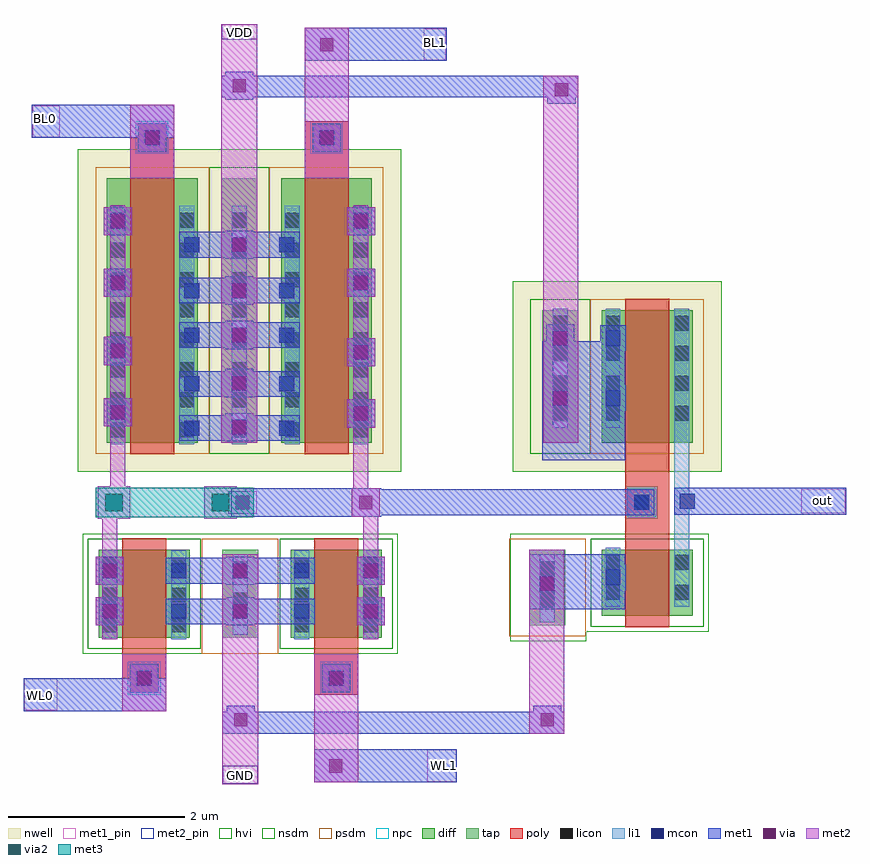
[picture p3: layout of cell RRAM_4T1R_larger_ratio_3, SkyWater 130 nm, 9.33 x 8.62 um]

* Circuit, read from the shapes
.subckt RRAM_4T1R_larger_ratio_3 BL0 BL1 GND VDD WL0 WL1 out
XM1 GND WL0 rram2_0_4/BE GND sky130_fd_pr__nfet_g5v0d10v5 w=1 l=0.5
XM2 rram2_0_4/BE WL1 GND GND sky130_fd_pr__nfet_g5v0d10v5 w=1 l=0.5
XM3 out rram2_0_4/BE GND GND sky130_fd_pr__nfet_g5v0d10v5 w=0.75 l=0.5
XM4 VDD BL0 rram2_0_4/BE VDD sky130_fd_pr__pfet_g5v0d10v5 w=3 l=0.5
XM5 rram2_0_4/BE BL1 VDD VDD sky130_fd_pr__pfet_g5v0d10v5 w=3 l=0.5
XM6 out rram2_0_4/BE VDD VDD sky130_fd_pr__pfet_g5v0d10v5 w=1.5 l=0.5
.ends

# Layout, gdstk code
from math import pi, radians
import gdstk
lib = gdstk.Library(unit=1e-6, precision=1e-09)
def R(c, l, rs):  # rectangles x0, y0, x1, y1
    for r in rs: c.add(gdstk.rectangle(r[:2], r[2:], *l))
def A(c, l, x, y, w, h, nx, ny, dx, dy):  # array of equal rectangles
    R(c, l, [(x+i*dx, y+j*dy, x+i*dx+w, y+j*dy+h) for i in range(nx) for j in range(ny)])
nwell = (64, 20)
diff = (65, 20)
tap = (65, 44)
poly = (66, 20)
licon = (66, 44)
li1 = (67, 20)
mcon = (67, 44)
met1_pin = (68, 16)
met1 = (68, 20)
via = (68, 44)
met2_pin = (69, 16)
met2 = (69, 20)
via2 = (69, 44)
met3 = (70, 20)
hvi = (75, 20)
nsdm = (93, 44)
psdm = (94, 20)
npc = (95, 20)

dfl1sd_cdns_630369580171 = lib.new_cell('DFL1sd_CDNS_6303695801715')
R(dfl1sd_cdns_630369580171, nwell, [(-0.18,-0.18,0.445,3.18)])
R(dfl1sd_cdns_630369580171, diff, [(0,0,0.265,3)])
A(dfl1sd_cdns_630369580171, licon, 0.055, 0.06, 0.17, 0.17, 1, 8, 0, 0.34)
R(dfl1sd_cdns_630369580171, li1, [(0.055,-0.02,0.225,2.69)])
R(dfl1sd_cdns_630369580171, psdm, [(-0.125,-0.125,0.39,3.125)])

pfet_symbolic_cdns_63036 = lib.new_cell('pfet_symbolic_CDNS_6303695801714')
R(pfet_symbolic_cdns_63036, nwell, [(-0.445,-0.18,0.945,3.18)])
R(pfet_symbolic_cdns_63036, diff, [(-0.25,0,0,3), (0,0,0.5,3), (0.5,0,0.75,3)])
R(pfet_symbolic_cdns_63036, poly, [(0,-0.13,0.5,0), (0,-0.13,0.5,3.13), (0,3,0.5,3.13)])
R(pfet_symbolic_cdns_63036, li1, [(-0.225,-0.02,-0.055,2.69), (0.555,-0.02,0.725,2.69)])
R(pfet_symbolic_cdns_63036, psdm, [(-0.25,-0.125,0.75,3.125)])
pfet_symbolic_cdns_63036.add(gdstk.Reference(dfl1sd_cdns_630369580171, (0,0), rotation=pi, x_reflection=True))
pfet_symbolic_cdns_63036.add(gdstk.Reference(dfl1sd_cdns_630369580171, (0.5,0)))
pfet_symbolic_cdns_63036.add(gdstk.Label('S', (-0.14,1.335), layer=83, texttype=44))
pfet_symbolic_cdns_63036.add(gdstk.Label('D', (0.64,1.335), layer=83, texttype=44))

pfet_cdns_6303695801713 = lib.new_cell('pfet_CDNS_6303695801713')
R(pfet_cdns_6303695801713, nwell, [(-1.275,-0.33,-0.445,3.33), (-0.595,-0.33,1.095,3.33)])
R(pfet_cdns_6303695801713, tap, [(-0.945,0,-0.535,3)])
A(pfet_cdns_6303695801713, licon, -0.825, 0.06, 0.17, 0.17, 1, 8, 0, 0.34)
R(pfet_cdns_6303695801713, li1, [(-0.825,-0.02,-0.655,2.69)])
R(pfet_cdns_6303695801713, hvi, [(-1.275,-0.33,-0.445,3.33), (-0.595,-0.33,1.095,3.33)])
R(pfet_cdns_6303695801713, nsdm, [(-1.08,-0.125,-0.4,3.125)])
R(pfet_cdns_6303695801713, psdm, [(-0.4,-0.125,-0.39,3.125)])
pfet_cdns_6303695801713.add(gdstk.Reference(pfet_symbolic_cdns_63036, (0,0)))

c_dfl1sd_cdns_630369580171 = lib.new_cell('DFL1sd_CDNS_6303695801718')
R(c_dfl1sd_cdns_630369580171, diff, [(0,0,0.265,1)])
A(c_dfl1sd_cdns_630369580171, licon, 0.055, 0.06, 0.17, 0.17, 1, 3, 0, 0.34)
R(c_dfl1sd_cdns_630369580171, li1, [(0.055,-0.02,0.225,0.99)])
R(c_dfl1sd_cdns_630369580171, nsdm, [(-0.125,-0.125,0.39,1.125)])

nfet_symbolic_cdns_63036 = lib.new_cell('nfet_symbolic_CDNS_6303695801717')
R(nfet_symbolic_cdns_63036, diff, [(-0.25,0,0,1), (0,0,0.5,1), (0.5,0,0.75,1)])
R(nfet_symbolic_cdns_63036, poly, [(0,-0.13,0.5,0), (0,-0.13,0.5,1.13), (0,1,0.5,1.13)])
R(nfet_symbolic_cdns_63036, li1, [(-0.225,-0.02,-0.055,0.99), (0.555,-0.02,0.725,0.99)])
R(nfet_symbolic_cdns_63036, nsdm, [(-0.25,-0.125,0.75,1.125)])
nfet_symbolic_cdns_63036.add(gdstk.Reference(c_dfl1sd_cdns_630369580171, (0,0), rotation=pi, x_reflection=True))
nfet_symbolic_cdns_63036.add(gdstk.Reference(c_dfl1sd_cdns_630369580171, (0.5,0)))
nfet_symbolic_cdns_63036.add(gdstk.Label('S', (-0.14,0.485), layer=83, texttype=44))
nfet_symbolic_cdns_63036.add(gdstk.Label('D', (0.64,0.485), layer=83, texttype=44))

nfet_cdns_6303695801716 = lib.new_cell('nfet_CDNS_6303695801716')
R(nfet_cdns_6303695801716, hvi, [(-0.445,-0.18,0.945,1.18)])
nfet_cdns_6303695801716.add(gdstk.Reference(nfet_symbolic_cdns_63036, (0,0)))

rram2_0 = lib.new_cell('rram2_0')
R(rram2_0, met1_pin, [(-0.16,-0.13,0.16,0.13)])
R(rram2_0, met1, [(-0.16,-0.13,0.16,0.13)])
R(rram2_0, via, [(-0.075,-0.075,0.075,0.075)])
R(rram2_0, met2_pin, [(-0.13,-0.16,0.13,0.16)])
R(rram2_0, met2, [(-0.13,-0.16,0.13,0.16)])
rram2_0.add(gdstk.Label('TE', (0,0), layer=69, texttype=5))
rram2_0.add(gdstk.Label('BE', (0,0), layer=68, texttype=5))

dfl1sd_cdns_630369580176 = lib.new_cell('DFL1sd_CDNS_630369580176')
R(dfl1sd_cdns_630369580176, diff, [(0,0,0.265,0.75)])
R(dfl1sd_cdns_630369580176, licon, [(0.055,0.06,0.225,0.23), (0.055,0.4,0.225,0.57)])
R(dfl1sd_cdns_630369580176, li1, [(0.055,-0.02,0.225,0.65)])
R(dfl1sd_cdns_630369580176, nsdm, [(-0.125,-0.125,0.39,0.875)])

c_nfet_symbolic_cdns_63036 = lib.new_cell('nfet_symbolic_CDNS_630369580175')
R(c_nfet_symbolic_cdns_63036, diff, [(-0.25,0,0,0.75), (0,0,0.5,0.75), (0.5,0,0.75,0.75)])
R(c_nfet_symbolic_cdns_63036, poly, [(0,-0.13,0.5,0), (0,-0.13,0.5,0.88), (0,0.75,0.5,0.88)])
R(c_nfet_symbolic_cdns_63036, li1, [(-0.225,-0.02,-0.055,0.65), (0.555,-0.02,0.725,0.65)])
R(c_nfet_symbolic_cdns_63036, nsdm, [(-0.25,-0.125,0.75,0.875)])
c_nfet_symbolic_cdns_63036.add(gdstk.Reference(dfl1sd_cdns_630369580176, (0,0), rotation=pi, x_reflection=True))
c_nfet_symbolic_cdns_63036.add(gdstk.Reference(dfl1sd_cdns_630369580176, (0.5,0)))
c_nfet_symbolic_cdns_63036.add(gdstk.Label('S', (-0.14,0.315), layer=83, texttype=44))
c_nfet_symbolic_cdns_63036.add(gdstk.Label('D', (0.64,0.315), layer=83, texttype=44))

nfet_cdns_630369580174 = lib.new_cell('nfet_CDNS_630369580174')
R(nfet_cdns_630369580174, hvi, [(-0.445,-0.18,0.945,0.93)])
nfet_cdns_630369580174.add(gdstk.Reference(c_nfet_symbolic_cdns_63036, (0,0)))

c_dfl1sd_cdns_630369580171_ = lib.new_cell('DFL1sd_CDNS_6303695801712')
R(c_dfl1sd_cdns_630369580171_, nwell, [(-0.18,-0.18,0.445,1.68)])
R(c_dfl1sd_cdns_630369580171_, diff, [(0,0,0.265,1.5)])
A(c_dfl1sd_cdns_630369580171_, licon, 0.055, 0.06, 0.17, 0.17, 1, 4, 0, 0.34)
R(c_dfl1sd_cdns_630369580171_, li1, [(0.055,-0.02,0.225,1.33)])
R(c_dfl1sd_cdns_630369580171_, psdm, [(-0.125,-0.125,0.39,1.625)])

c_pfet_symbolic_cdns_63036 = lib.new_cell('pfet_symbolic_CDNS_6303695801711')
R(c_pfet_symbolic_cdns_63036, nwell, [(-0.445,-0.18,0.945,1.68)])
R(c_pfet_symbolic_cdns_63036, diff, [(-0.25,0,0,1.5), (0,0,0.5,1.5), (0.5,0,0.75,1.5)])
R(c_pfet_symbolic_cdns_63036, poly, [(0,-0.13,0.5,0), (0,-0.13,0.5,1.63), (0,1.5,0.5,1.63)])
R(c_pfet_symbolic_cdns_63036, li1, [(-0.225,-0.02,-0.055,1.33), (0.555,-0.02,0.725,1.33)])
R(c_pfet_symbolic_cdns_63036, psdm, [(-0.25,-0.125,0.75,1.625)])
c_pfet_symbolic_cdns_63036.add(gdstk.Reference(c_dfl1sd_cdns_630369580171_, (0,0), rotation=pi, x_reflection=True))
c_pfet_symbolic_cdns_63036.add(gdstk.Reference(c_dfl1sd_cdns_630369580171_, (0.5,0)))
c_pfet_symbolic_cdns_63036.add(gdstk.Label('S', (-0.14,0.655), layer=83, texttype=44))
c_pfet_symbolic_cdns_63036.add(gdstk.Label('D', (0.64,0.655), layer=83, texttype=44))

pfet_cdns_6303695801710 = lib.new_cell('pfet_CDNS_6303695801710')
R(pfet_cdns_6303695801710, nwell, [(-1.275,-0.33,-0.445,1.83), (-0.595,-0.33,1.095,1.83)])
R(pfet_cdns_6303695801710, tap, [(-0.945,0,-0.535,1.5)])
A(pfet_cdns_6303695801710, licon, -0.825, 0.06, 0.17, 0.17, 1, 4, 0, 0.34)
R(pfet_cdns_6303695801710, li1, [(-0.825,-0.02,-0.655,1.33)])
R(pfet_cdns_6303695801710, hvi, [(-1.275,-0.33,-0.445,1.83), (-0.595,-0.33,1.095,1.83)])
R(pfet_cdns_6303695801710, nsdm, [(-1.08,-0.125,-0.4,1.625)])
R(pfet_cdns_6303695801710, psdm, [(-0.4,-0.125,-0.39,1.625)])
pfet_cdns_6303695801710.add(gdstk.Reference(c_pfet_symbolic_cdns_63036, (0,0)))

l1m1_c_cdns_630369580172 = lib.new_cell('L1M1_C_CDNS_6303695801729')
R(l1m1_c_cdns_630369580172, li1, [(-0.085,-0.085,0.085,0.085)])
R(l1m1_c_cdns_630369580172, mcon, [(-0.085,-0.085,0.085,0.085)])
R(l1m1_c_cdns_630369580172, met1, [(-0.16,-0.16,0.16,0.16)])

m1m2_c_cdns_630369580172 = lib.new_cell('M1M2_C_CDNS_6303695801725')
R(m1m2_c_cdns_630369580172, met1, [(-0.16,-0.16,0.16,0.16)])
R(m1m2_c_cdns_630369580172, via, [(-0.075,-0.075,0.075,0.075)])
R(m1m2_c_cdns_630369580172, met2, [(-0.16,-0.16,0.16,0.16)])

pyl1_c_cdns_630369580173 = lib.new_cell('PYL1_C_CDNS_6303695801737')
R(pyl1_c_cdns_630369580173, poly, [(-0.165,-0.165,0.165,0.165)])
R(pyl1_c_cdns_630369580173, licon, [(-0.085,-0.085,0.085,0.085)])
R(pyl1_c_cdns_630369580173, li1, [(-0.165,-0.165,0.165,0.165)])
R(pyl1_c_cdns_630369580173, npc, [(-0.185,-0.185,0.185,0.185)])

l1m1_c_cdns_630369580173 = lib.new_cell('L1M1_C_CDNS_6303695801734')
R(l1m1_c_cdns_630369580173, li1, [(-0.085,-0.085,0.085,0.085)])
R(l1m1_c_cdns_630369580173, mcon, [(-0.085,-0.085,0.085,0.085)])
R(l1m1_c_cdns_630369580173, met1, [(-0.145,-0.145,0.145,0.145)])

m2m3_c_cdns_630369580173 = lib.new_cell('M2M3_C_CDNS_6303695801738')
R(m2m3_c_cdns_630369580173, met2, [(-0.185,-0.185,0.185,0.185)])
R(m2m3_c_cdns_630369580173, via2, [(-0.1,-0.1,0.1,0.1)])
R(m2m3_c_cdns_630369580173, met3, [(-0.165,-0.165,0.165,0.165)])

rram_4t1r_larger_ratio_3 = lib.new_cell('RRAM_4T1R_larger_ratio_3')
R(rram_4t1r_larger_ratio_3, tap, [(2.485,-2.795,2.895,-1.795), (5.97,-2.655,6.38,-1.795)])
R(rram_4t1r_larger_ratio_3, poly, [(3.53,-3.44,4.03,-2.925), (1.35,-3.255,1.85,-2.925), (7.06,-1.665,7.56,-0.71), (1.44,2.55,1.94,2.88), (3.42,2.55,3.92,3.065)])
R(rram_4t1r_larger_ratio_3, licon, [(2.605,-2.455,2.775,-2.285), (6.09,-2.45,6.26,-2.28), (2.605,-2.1,2.775,-1.93), (6.09,-2.095,6.26,-1.925)])
R(rram_4t1r_larger_ratio_3, li1, [(2.605,-2.76,2.775,-1.845), (6.09,-2.62,6.26,-1.845), (7.615,-1.795,7.785,-0.41)])
R(rram_4t1r_larger_ratio_3, met1_pin, [(4.81,-4.43,5.14,-4.065), (0.24,-3.62,0.615,-3.26), (9.055,-1.385,9.555,-1.11), (0.335,2.885,0.64,3.245), (4.775,3.76,5.02,4.115)])
R(rram_4t1r_larger_ratio_3, met1, [(3.53,-4.435,5.145,-4.06), (2.485,-3.885,6.365,-3.635), (0.235,-3.63,1.85,-3.255), (1.905,-2.64,3.475,-2.35), (5.97,-2.47,7.06,-1.85), (1.905,-2.18,3.475,-1.89), (2.75,-1.42,4.29,-1.1), (4.29,-1.405,7.38,-1.11), (7.615,-1.4,9.565,-1.095), (6.115,-0.78,7.06,0.57), (1.995,-0.56,3.365,-0.27), (1.995,-0.06,3.365,0.23), (1.995,0.495,3.365,0.785), (1.995,1,3.365,1.29), (1.995,1.52,3.365,1.81), (0.325,2.88,1.94,3.255), (2.475,3.34,6.525,3.585), (3.42,3.755,5.035,4.13)])
R(rram_4t1r_larger_ratio_3, met2_pin, [(2.49,-4.45,2.89,-4.25), (2.48,3.995,2.88,4.165)])
R(rram_4t1r_larger_ratio_3, met2, [(2.485,-4.455,2.895,-1.85), (3.53,-4.435,4.03,-2.975), (5.97,-3.885,6.365,-1.795), (1.35,-3.63,1.85,-2.975), (1.125,-2.815,1.295,-1.095), (4.085,-2.815,4.255,-1.1), (1.215,-1.42,1.385,2.115), (3.975,-1.42,4.145,2.115), (2.475,-0.58,2.885,4.17), (6.13,-0.58,6.525,3.585), (1.44,2.42,1.94,3.255), (3.42,2.42,3.92,4.13)])
R(rram_4t1r_larger_ratio_3, met3, [(1.05,-1.425,2.845,-1.095)])
R(rram_4t1r_larger_ratio_3, hvi, [(2.25,-2.975,3.11,-1.615), (5.755,-2.835,6.615,-1.615)])
R(rram_4t1r_larger_ratio_3, psdm, [(2.255,-2.975,3.12,-1.67), (5.745,-2.78,6.61,-1.67)])
rram_4t1r_larger_ratio_3.add(gdstk.Reference(pfet_cdns_6303695801713, (1.94,-0.58), rotation=pi, x_reflection=True))
rram_4t1r_larger_ratio_3.add(gdstk.Reference(pfet_cdns_6303695801713, (3.42,-0.58)))
rram_4t1r_larger_ratio_3.add(gdstk.Reference(nfet_cdns_6303695801716, (3.53,-2.795)))
rram_4t1r_larger_ratio_3.add(gdstk.Reference(nfet_cdns_6303695801716, (1.85,-2.795), rotation=pi, x_reflection=True))
rram_4t1r_larger_ratio_3.add(gdstk.Reference(rram2_0, (2.715,-1.26)))
rram_4t1r_larger_ratio_3.add(gdstk.Reference(nfet_cdns_630369580174, (7.06,-1.795), x_reflection=True))
rram_4t1r_larger_ratio_3.add(gdstk.Reference(pfet_cdns_6303695801710, (7.06,0.92), x_reflection=True))
rram_4t1r_larger_ratio_3.add(gdstk.Reference(l1m1_c_cdns_630369580172, (1.21,-2.495)))
rram_4t1r_larger_ratio_3.add(gdstk.Reference(l1m1_c_cdns_630369580172, (3.78,-3.255)))
rram_4t1r_larger_ratio_3.add(gdstk.Reference(l1m1_c_cdns_630369580172, (2.69,-2.495)))
rram_4t1r_larger_ratio_3.add(gdstk.Reference(l1m1_c_cdns_630369580172, (2.69,-2.035)))
rram_4t1r_larger_ratio_3.add(gdstk.Reference(l1m1_c_cdns_630369580172, (1.6,-3.255)))
rram_4t1r_larger_ratio_3.add(gdstk.Reference(l1m1_c_cdns_630369580172, (4.17,-2.035)))
rram_4t1r_larger_ratio_3.add(gdstk.Reference(l1m1_c_cdns_630369580172, (4.17,-2.495)))
rram_4t1r_larger_ratio_3.add(gdstk.Reference(l1m1_c_cdns_630369580172, (1.21,-2.035)))
rram_4t1r_larger_ratio_3.add(gdstk.Reference(l1m1_c_cdns_630369580172, (1.3,1.235)))
rram_4t1r_larger_ratio_3.add(gdstk.Reference(l1m1_c_cdns_630369580172, (1.3,-0.235)))
rram_4t1r_larger_ratio_3.add(gdstk.Reference(l1m1_c_cdns_630369580172, (1.3,0.46)))
rram_4t1r_larger_ratio_3.add(gdstk.Reference(l1m1_c_cdns_630369580172, (1.3,1.93)))
rram_4t1r_larger_ratio_3.add(gdstk.Reference(l1m1_c_cdns_630369580172, (1.69,2.88)))
rram_4t1r_larger_ratio_3.add(gdstk.Reference(l1m1_c_cdns_630369580172, (2.68,-0.405)))
rram_4t1r_larger_ratio_3.add(gdstk.Reference(l1m1_c_cdns_630369580172, (2.68,1.145)))
rram_4t1r_larger_ratio_3.add(gdstk.Reference(l1m1_c_cdns_630369580172, (2.68,0.64)))
rram_4t1r_larger_ratio_3.add(gdstk.Reference(l1m1_c_cdns_630369580172, (2.68,0.095)))
rram_4t1r_larger_ratio_3.add(gdstk.Reference(l1m1_c_cdns_630369580172, (2.68,1.665)))
rram_4t1r_larger_ratio_3.add(gdstk.Reference(l1m1_c_cdns_630369580172, (3.67,2.88)))
rram_4t1r_larger_ratio_3.add(gdstk.Reference(l1m1_c_cdns_630369580172, (4.06,-0.25)))
rram_4t1r_larger_ratio_3.add(gdstk.Reference(l1m1_c_cdns_630369580172, (4.06,0.445)))
rram_4t1r_larger_ratio_3.add(gdstk.Reference(l1m1_c_cdns_630369580172, (4.06,1.93)))
rram_4t1r_larger_ratio_3.add(gdstk.Reference(l1m1_c_cdns_630369580172, (4.06,1.235)))
rram_4t1r_larger_ratio_3.add(gdstk.Reference(l1m1_c_cdns_630369580172, (6.175,-2.185)))
rram_4t1r_larger_ratio_3.add(gdstk.Reference(l1m1_c_cdns_630369580172, (6.32,0.605)))
rram_4t1r_larger_ratio_3.add(gdstk.Reference(l1m1_c_cdns_630369580172, (6.32,-0.075)))
rram_4t1r_larger_ratio_3.add(gdstk.Reference(m1m2_c_cdns_630369580172, (1.21,-2.495)))
rram_4t1r_larger_ratio_3.add(gdstk.Reference(m1m2_c_cdns_630369580172, (3.78,-3.255)))
rram_4t1r_larger_ratio_3.add(gdstk.Reference(m1m2_c_cdns_630369580172, (2.69,-2.495)))
rram_4t1r_larger_ratio_3.add(gdstk.Reference(m1m2_c_cdns_630369580172, (2.69,-2.035)))
rram_4t1r_larger_ratio_3.add(gdstk.Reference(m1m2_c_cdns_630369580172, (1.6,-3.255)))
rram_4t1r_larger_ratio_3.add(gdstk.Reference(m1m2_c_cdns_630369580172, (4.17,-2.035)))
rram_4t1r_larger_ratio_3.add(gdstk.Reference(m1m2_c_cdns_630369580172, (4.17,-2.495)))
rram_4t1r_larger_ratio_3.add(gdstk.Reference(m1m2_c_cdns_630369580172, (1.21,-2.035)))
rram_4t1r_larger_ratio_3.add(gdstk.Reference(m1m2_c_cdns_630369580172, (1.3,1.235)))
rram_4t1r_larger_ratio_3.add(gdstk.Reference(m1m2_c_cdns_630369580172, (1.3,-0.235)))
rram_4t1r_larger_ratio_3.add(gdstk.Reference(m1m2_c_cdns_630369580172, (1.3,0.46)))
rram_4t1r_larger_ratio_3.add(gdstk.Reference(m1m2_c_cdns_630369580172, (1.3,1.93)))
rram_4t1r_larger_ratio_3.add(gdstk.Reference(m1m2_c_cdns_630369580172, (1.69,2.88)))
rram_4t1r_larger_ratio_3.add(gdstk.Reference(m1m2_c_cdns_630369580172, (2.68,-0.405)))
rram_4t1r_larger_ratio_3.add(gdstk.Reference(m1m2_c_cdns_630369580172, (2.68,1.145)))
rram_4t1r_larger_ratio_3.add(gdstk.Reference(m1m2_c_cdns_630369580172, (2.68,0.64)))
rram_4t1r_larger_ratio_3.add(gdstk.Reference(m1m2_c_cdns_630369580172, (2.68,0.095)))
rram_4t1r_larger_ratio_3.add(gdstk.Reference(m1m2_c_cdns_630369580172, (2.68,1.665)))
rram_4t1r_larger_ratio_3.add(gdstk.Reference(m1m2_c_cdns_630369580172, (3.67,2.88)))
rram_4t1r_larger_ratio_3.add(gdstk.Reference(m1m2_c_cdns_630369580172, (4.06,-0.25)))
rram_4t1r_larger_ratio_3.add(gdstk.Reference(m1m2_c_cdns_630369580172, (4.06,0.445)))
rram_4t1r_larger_ratio_3.add(gdstk.Reference(m1m2_c_cdns_630369580172, (4.06,1.93)))
rram_4t1r_larger_ratio_3.add(gdstk.Reference(m1m2_c_cdns_630369580172, (4.06,1.235)))
rram_4t1r_larger_ratio_3.add(gdstk.Reference(m1m2_c_cdns_630369580172, (4.115,-1.26)))
rram_4t1r_larger_ratio_3.add(gdstk.Reference(m1m2_c_cdns_630369580172, (6.175,-2.185)))
rram_4t1r_larger_ratio_3.add(gdstk.Reference(m1m2_c_cdns_630369580172, (6.32,0.605)))
rram_4t1r_larger_ratio_3.add(gdstk.Reference(m1m2_c_cdns_630369580172, (6.335,3.425)))
rram_4t1r_larger_ratio_3.add(gdstk.Reference(m1m2_c_cdns_630369580172, (6.175,-3.725)))
rram_4t1r_larger_ratio_3.add(gdstk.Reference(m1m2_c_cdns_630369580172, (6.32,-0.075)))
rram_4t1r_larger_ratio_3.add(gdstk.Reference(m1m2_c_cdns_630369580172, (2.68,3.47)))
rram_4t1r_larger_ratio_3.add(gdstk.Reference(m1m2_c_cdns_630369580172, (2.695,-3.725)))
rram_4t1r_larger_ratio_3.add(gdstk.Reference(m1m2_c_cdns_630369580172, (3.775,-4.25)))
rram_4t1r_larger_ratio_3.add(gdstk.Reference(m1m2_c_cdns_630369580172, (3.67,3.935)))
rram_4t1r_larger_ratio_3.add(gdstk.Reference(pyl1_c_cdns_630369580173, (3.78,-3.255)))
rram_4t1r_larger_ratio_3.add(gdstk.Reference(pyl1_c_cdns_630369580173, (1.6,-3.255)))
rram_4t1r_larger_ratio_3.add(gdstk.Reference(pyl1_c_cdns_630369580173, (1.69,2.88)))
rram_4t1r_larger_ratio_3.add(gdstk.Reference(pyl1_c_cdns_630369580173, (3.67,2.88)))
rram_4t1r_larger_ratio_3.add(gdstk.Reference(pyl1_c_cdns_630369580173, (7.245,-1.26)))
rram_4t1r_larger_ratio_3.add(gdstk.Reference(l1m1_c_cdns_630369580173, (3.39,-2.035)))
rram_4t1r_larger_ratio_3.add(gdstk.Reference(l1m1_c_cdns_630369580173, (3.39,-2.495)))
rram_4t1r_larger_ratio_3.add(gdstk.Reference(l1m1_c_cdns_630369580173, (1.99,-2.495)))
rram_4t1r_larger_ratio_3.add(gdstk.Reference(l1m1_c_cdns_630369580173, (1.99,-2.035)))
rram_4t1r_larger_ratio_3.add(gdstk.Reference(l1m1_c_cdns_630369580173, (2.14,-0.415)))
rram_4t1r_larger_ratio_3.add(gdstk.Reference(l1m1_c_cdns_630369580173, (2.14,0.085)))
rram_4t1r_larger_ratio_3.add(gdstk.Reference(l1m1_c_cdns_630369580173, (2.14,1.145)))
rram_4t1r_larger_ratio_3.add(gdstk.Reference(l1m1_c_cdns_630369580173, (2.14,0.64)))
rram_4t1r_larger_ratio_3.add(gdstk.Reference(l1m1_c_cdns_630369580173, (2.14,1.665)))
rram_4t1r_larger_ratio_3.add(gdstk.Reference(l1m1_c_cdns_630369580173, (3.215,0.64)))
rram_4t1r_larger_ratio_3.add(gdstk.Reference(l1m1_c_cdns_630369580173, (3.22,-0.415)))
rram_4t1r_larger_ratio_3.add(gdstk.Reference(l1m1_c_cdns_630369580173, (3.22,1.145)))
rram_4t1r_larger_ratio_3.add(gdstk.Reference(l1m1_c_cdns_630369580173, (3.22,0.085)))
rram_4t1r_larger_ratio_3.add(gdstk.Reference(l1m1_c_cdns_630369580173, (3.22,1.665)))
rram_4t1r_larger_ratio_3.add(gdstk.Reference(l1m1_c_cdns_630369580173, (7.245,-1.26)))
rram_4t1r_larger_ratio_3.add(gdstk.Reference(l1m1_c_cdns_630369580173, (6.92,-2.11)))
rram_4t1r_larger_ratio_3.add(gdstk.Reference(l1m1_c_cdns_630369580173, (7.76,-1.245)))
rram_4t1r_larger_ratio_3.add(gdstk.Reference(l1m1_c_cdns_630369580173, (6.92,0.605)))
rram_4t1r_larger_ratio_3.add(gdstk.Reference(l1m1_c_cdns_630369580173, (6.92,-0.075)))
rram_4t1r_larger_ratio_3.add(gdstk.Reference(m2m3_c_cdns_630369580173, (1.255,-1.26)))
rram_4t1r_larger_ratio_3.add(gdstk.Reference(m2m3_c_cdns_630369580173, (2.465,-1.26)))
rram_4t1r_larger_ratio_3.add(gdstk.Label('VDD', (2.68,4.07), layer=69, texttype=16))
rram_4t1r_larger_ratio_3.add(gdstk.Label('GND', (2.69,-4.36), layer=69, texttype=16))
rram_4t1r_larger_ratio_3.add(gdstk.Label('WL1', (5.005,-4.245), layer=68, texttype=16))
rram_4t1r_larger_ratio_3.add(gdstk.Label('WL0', (0.42,-3.455), layer=68, texttype=16))
rram_4t1r_larger_ratio_3.add(gdstk.Label('BL0', (0.485,3.1), layer=68, texttype=16))
rram_4t1r_larger_ratio_3.add(gdstk.Label('BL1', (4.91,3.965), layer=68, texttype=16))
rram_4t1r_larger_ratio_3.add(gdstk.Label('out', (9.3,-1.24), layer=68, texttype=16))

lib.write_gds('RRAM_4T1R_larger_ratio_3.gds')
